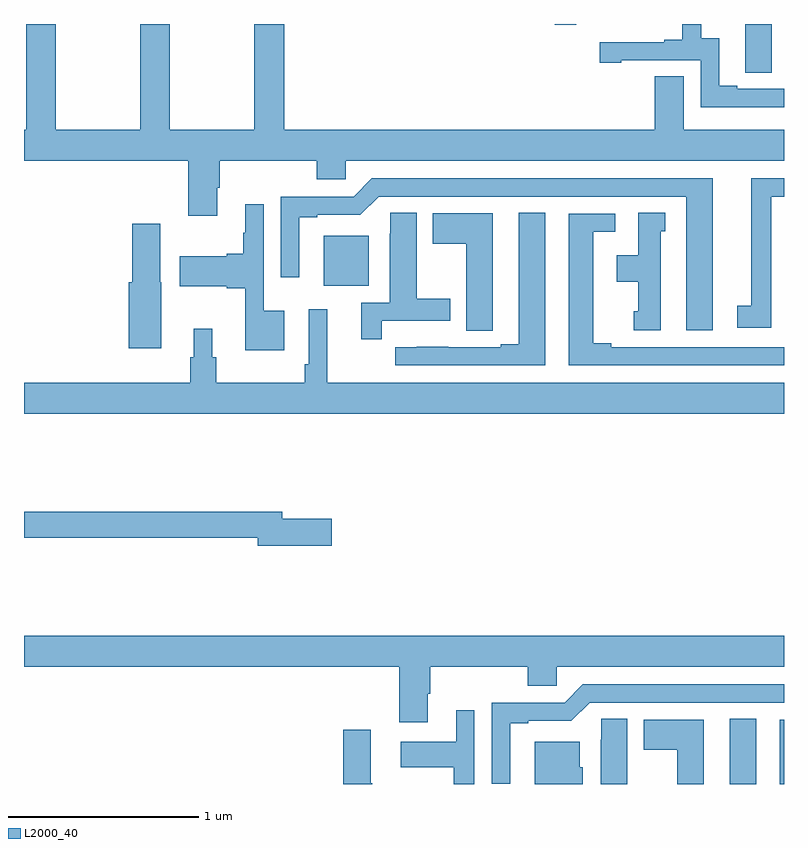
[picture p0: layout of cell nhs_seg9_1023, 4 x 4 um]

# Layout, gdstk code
import gdstk
lib = gdstk.Library(unit=1e-6, precision=1e-09)
def R(c, l, rs):  # rectangles x0, y0, x1, y1
    for r in rs: c.add(gdstk.rectangle(r[:2], r[2:], *l))
def P(c, l, *ps):  # polygons
    for p in ps: c.add(gdstk.Polygon(p, *l))
L2000_40 = (2000, 40)

nhs_seg9_1023 = lib.new_cell('nhs_seg9_1023')
R(nhs_seg9_1023, L2000_40, [(170.714,1166.5,170.854,1166.843), (170.978,1166.5,171,1166.838), (168.578,1169.123,168.814,1169.386), (169.794,1170.497,169.906,1170.5)])
P(nhs_seg9_1023, L2000_40, [(168.016,1169.638),(168.029,1169.638),(168.029,1169.78),(168.542,1169.78),(168.542,1169.682),(168.693,1169.682),(168.693,1169.78),(171,1169.78),(171,1169.944),(170.473,1169.944),(170.473,1170.224),(170.321,1170.224),(170.321,1169.944),(168.371,1169.944),(168.371,1170.5),(168.211,1170.5),(168.211,1169.944),(167.766,1169.944),(167.766,1170.5),(167.611,1170.5),(167.611,1169.944),(167.166,1169.944),(167.166,1170.5),(167.011,1170.5),(167.011,1169.944),(167,1169.944),(167,1169.78),(167.864,1169.78),(167.864,1169.49),(168.016,1169.49)],
  [(170.935,1170.5),(170.795,1170.5),(170.795,1170.352),(170.796,1170.352),(170.796,1170.244),(170.935,1170.244)],
  [(171,1170.159),(170.755,1170.159),(170.755,1170.174),(170.659,1170.174),(170.659,1170.425),(170.565,1170.425),(170.565,1170.5),(170.465,1170.5),(170.465,1170.418),(170.369,1170.418),(170.369,1170.405),(170.031,1170.405),(170.031,1170.297),(170.143,1170.297),(170.143,1170.309),(170.562,1170.309),(170.562,1170.063),(171,1170.063)],
  [(170.932,1169.592),(171,1169.592),(171,1169.688),(170.828,1169.688),(170.828,1169.018),(170.754,1169.018),(170.754,1168.902),(170.932,1168.902)],
  [(170.626,1169.688),(168.831,1169.688),(168.735,1169.592),(168.351,1169.592),(168.351,1169.166),(168.448,1169.166),(168.448,1169.484),(168.544,1169.484),(168.544,1169.496),(168.771,1169.496),(168.867,1169.592),(170.486,1169.592),(170.486,1168.887),(170.626,1168.887)],
  [(168.37,1168.99),(168.261,1168.99),(168.261,1169.551),(168.164,1169.551),(168.164,1169.402),(168.153,1169.402),(168.153,1169.291),(168.068,1169.291),(168.068,1169.278),(167.82,1169.278),(167.82,1169.12),(168.068,1169.12),(168.068,1169.108),(168.164,1169.108),(168.164,1168.784),(168.37,1168.784)],
  [(169.744,1169.507),(169.604,1169.507),(169.604,1168.815),(169.508,1168.815),(169.508,1168.8),(169.232,1168.8),(169.232,1168.801),(169.066,1168.801),(169.066,1168.8),(168.954,1168.8),(168.954,1168.704),(169.744,1168.704)],
  [(168.884,1168.938),(169.243,1168.938),(169.243,1169.055),(169.066,1169.055),(169.066,1169.507),(168.927,1169.507),(168.927,1169.396),(168.926,1169.396),(168.926,1169.034),(168.776,1169.034),(168.776,1168.842),(168.884,1168.842)],
  [(170.35,1169.409),(170.374,1169.409),(170.374,1169.507),(170.234,1169.507),(170.234,1169.284),(170.12,1169.284),(170.12,1169.144),(170.234,1169.144),(170.234,1168.989),(170.21,1168.989),(170.21,1168.887),(170.35,1168.887)],
  [(169.467,1168.993),(169.468,1168.993),(169.468,1169.503),(169.151,1169.503),(169.151,1169.344),(169.328,1169.344),(169.328,1168.885),(169.467,1168.885)],
  [(171,1168.8),(170.092,1168.8),(170.092,1168.82),(169.996,1168.82),(169.996,1169.406),(170.113,1169.406),(170.113,1169.502),(169.868,1169.502),(169.868,1168.704),(171,1168.704)],
  [(167.722,1169.142),(167.716,1169.142),(167.716,1169.449),(167.57,1169.449),(167.57,1169.142),(167.552,1169.142),(167.552,1168.794),(167.722,1168.794)],
  [(171,1168.612),(168.596,1168.612),(168.596,1168.999),(168.498,1168.999),(168.498,1168.708),(168.478,1168.708),(168.478,1168.612),(168.011,1168.612),(168.011,1168.746),(167.992,1168.746),(167.992,1168.897),(167.894,1168.897),(167.894,1168.746),(167.875,1168.746),(167.875,1168.612),(167,1168.612),(167,1168.448),(171,1168.448)],
  [(168.619,1167.896),(168.358,1167.896),(168.358,1167.932),(167,1167.932),(167,1167.796),(168.23,1167.796),(168.23,1167.754),(168.619,1167.754)],
  [(169.126,1166.974),(169.139,1166.974),(169.139,1167.116),(169.652,1167.116),(169.652,1167.018),(169.803,1167.018),(169.803,1167.116),(171,1167.116),(171,1167.28),(167,1167.28),(167,1167.116),(168.974,1167.116),(168.974,1166.826),(169.126,1166.826)],
  [(169.558,1166.82),(169.654,1166.82),(169.654,1166.832),(169.881,1166.832),(169.977,1166.928),(171,1166.928),(171,1167.024),(169.941,1167.024),(169.845,1166.928),(169.461,1166.928),(169.461,1166.502),(169.558,1166.502)],
  [(169.371,1166.887),(169.274,1166.887),(169.274,1166.722),(168.984,1166.722),(168.984,1166.588),(169.263,1166.588),(169.263,1166.5),(169.371,1166.5)],
  [(170.176,1166.843),(170.037,1166.843),(170.037,1166.732),(170.036,1166.732),(170.036,1166.5),(170.176,1166.5)],
  [(170.578,1166.839),(170.261,1166.839),(170.261,1166.68),(170.438,1166.68),(170.438,1166.5),(170.578,1166.5)],
  [(168.834,1166.504),(168.826,1166.504),(168.826,1166.785),(168.68,1166.785),(168.68,1166.5),(168.834,1166.5)],
  [(169.942,1166.589),(169.924,1166.589),(169.924,1166.722),(169.688,1166.722),(169.688,1166.5),(169.942,1166.5)])

lib.write_gds('nhs_seg9_1023.gds')
